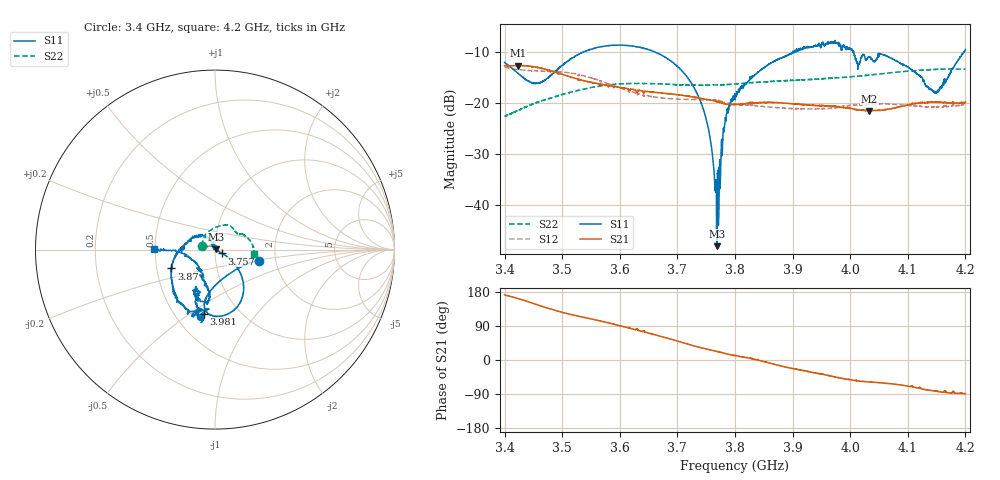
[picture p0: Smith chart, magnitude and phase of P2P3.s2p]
# GHZ S DB R 50.000000000000
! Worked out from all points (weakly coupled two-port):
!   4501 points, 3.4 GHz to 4.2 GHz, reference 50 ohm
!   highest |S21| = -12.59 dB at 3.423 GHz (marker M1); lowest = -21.5 dB at 4.033 GHz (marker M2)
!   lowest |S11| = -48.0 dB at 3.769 GHz (marker M3), VSWR 1.01, Z = 50.4 + j0.11 ohm
!   |S11| at or under -10 dB: start of sweep to 3.535 GHz; 3.662 GHz to 3.901 GHz (238.3 MHz wide, 6.3 % of centre); 4.006 GHz to 4.197 GHz (190.3 MHz wide, 4.64 % of centre) (the widest 3 of 7)
!   |S22| runs from -22.5 to -13.2 dB; largest |S21 - S12| = 0.034
!   S11 on the Smith chart (normalised r, x): 3.4 GHz: 1.63, -0.22; 3.757 GHz: 1.08, -0.05; 3.87 GHz: 0.60, -0.13; 3.981 GHz: 0.69, -0.57; 4.2 GHz: 0.50, +0.01
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3.4  -11.96 -14.2  -12.65 172.2  -12.92 163.8  -22.48 163.8
3.422756  -14.02 -23.5  -12.59 162.3  -13.36 157.1  -21.39 142.2
3.460444  -16.00 -64.8  -13.02 143.8  -13.64 145.7  -19.62 112.5
3.533511  -10.11 -100.9  -15.43 113.7  -14.47 112.1  -17.30 76.8
3.602489  -8.58 -85.3  -16.98 89.7  -17.09 82.0  -16.17 61.5
3.666844  -10.20 -60.7  -17.90 64.3  -18.84 62.5  -16.16 52.0
3.725867  -16.34 -37.9  -18.72 38.5  -19.24 43.0  -16.42 43.0
3.744711  -21.06 -31.1  -19.09 30.8  -19.26 35.5  -16.42 40.4
3.7568  -26.85 -28.5  -19.36 26.6  -19.30 30.4  -16.41 38.8
3.768711  -48.02 16.0  -19.59 22.6  -19.39 25.2  -16.39 37.5
3.771733  -42.26 136.7  -19.65 21.7  -19.43 23.9  -16.36 37.1
3.776356  -27.46 103.5  -19.96 19.5  -19.77 20.9  -16.36 36.5
3.783111  -23.01 117.3  -20.14 17.0  -19.96 17.1  -16.32 35.6
3.8  -18.90 142.6  -20.19 12.0  -20.10 10.4  -16.19 34.0
3.870044  -11.56 -156.6  -19.82 -11.7  -20.78 -14.2  -15.64 31.2
3.933511  -8.90 -119.4  -20.37 -32.5  -21.09 -30.8  -15.29 30.2
3.980978  -8.74 -99.8  -20.75 -47.2  -20.78 -42.0  -14.95 27.5
4.013689  -12.43 -115.4  -21.33 -55.2  -20.36 -52.0  -14.64 23.8
4.033067  -10.96 -109.9  -21.48 -58.2  -20.19 -57.0  -14.43 21.4
4.066844  -10.89 -96.6  -21.13 -62.3  -20.14 -66.7  -14.02 15.9
4.147733  -17.94 -141.3  -19.77 -82.3  -20.66 -80.9  -13.33 2.1
4.2  -9.43 179.0  -19.73 -89.0  -19.97 -82.7  -13.30 -7.2
